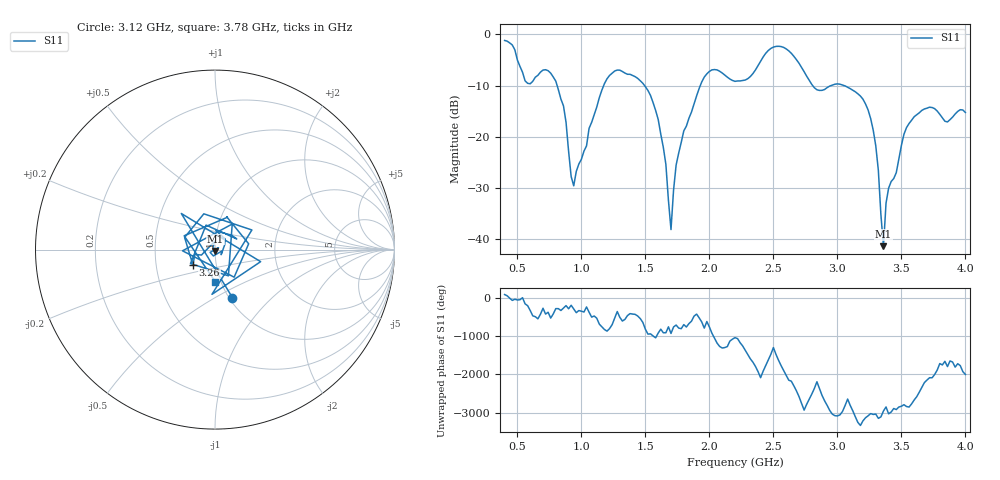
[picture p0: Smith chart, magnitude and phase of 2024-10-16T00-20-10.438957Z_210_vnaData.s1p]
! Created with skrf (http://scikit-rf.org).
# Hz S RI R 50.0
!freq ReS11 ImS11
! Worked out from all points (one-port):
!   181 points, 400 MHz to 4 GHz, reference 50 ohm
!   lowest |S11| = -41.4 dB at 3.36 GHz (marker M1), VSWR 1.02, Z = 50.2 - j0.831 ohm
!   |S11| at or under -10 dB: 810.5 MHz to 1.174 GHz (363.3 MHz wide, 36.6 % of centre); 1.494 GHz to 1.929 GHz (435.2 MHz wide, 25.4 % of centre); 3.054 GHz to end of sweep (the widest 3 of 4)
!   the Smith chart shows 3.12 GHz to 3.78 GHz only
!   S11 on the Smith chart (normalised r, x): 3.12 GHz: 1.04, -0.60; 3.26 GHz: 0.77, -0.14; 3.78 GHz: 0.94, -0.35
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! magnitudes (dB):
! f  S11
! 400 MHz  -1.2
! 580 MHz  -9.5
! 760 MHz  -7.6
! 860 MHz  -14.0
! 940 MHz  -29.6
! 1.18 GHz  -9.6
! 1.3 GHz  -7.0
! 1.48 GHz  -9.5
! 1.58 GHz  -14.9
! 1.66 GHz  -25.4
! 1.7 GHz  -38.1
! 1.72 GHz  -30.4
! 1.76 GHz  -23.2
! 1.96 GHz  -8.3
! 2.2 GHz  -9.2
! 2.5 GHz  -2.5
! 2.66 GHz  -4.3
! 2.84 GHz  -10.8
! 3.1 GHz  -10.6
! 3.12 GHz  -10.9
! 3.26 GHz  -16.4
! 3.32 GHz  -26.6
! 3.36 GHz  -41.4
! 3.38 GHz  -33.0
! 3.4 GHz  -30.1
! 3.56 GHz  -17.4
! 3.78 GHz  -15.0
! 4 GHz  -15.3
